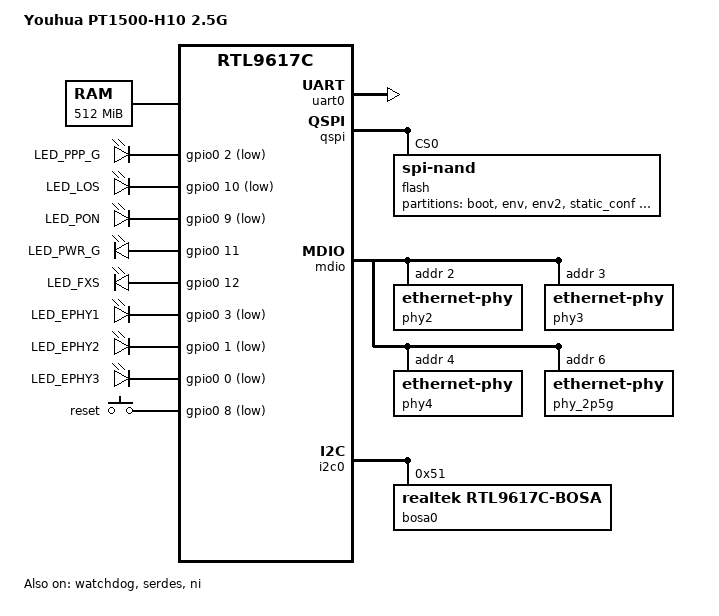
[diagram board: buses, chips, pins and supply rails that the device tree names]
// SPDX-License-Identifier: GPL-2.0-only
/dts-v1/;
#include "rtl9617c.dtsi"
#include <dt-bindings/gpio/gpio.h>
#include <dt-bindings/input/linux-event-codes.h>

/ {
	model = "Youhua PT1500-H10 2.5G";
	compatible = "youhua,pt1500-h10-2p5g", "realtek,rtl9617c";

	aliases {
		serial0 = &uart0;
		led-boot = &led_power;
		led-failsafe = &led_power;
		led-running = &led_power;
		led-upgrade = &led_power;
	};

	chosen {
		stdout-path = "serial0:115200n8";
		bootargs = "earlycon console=ttyS0,115200n8 loglevel=7 clk_ignore_unused maxcpus=4";
		rootdisk = <&ubi_rootdisk>;
	};

	memory@0 {
		device_type = "memory";
		reg = <0 0 0 0x20000000>;
	};

	reserved-memory {
		#address-cells = <2>;
		#size-cells = <2>;
		ranges;
		voip-vector@0 {
			reg = <0 0 0 0x1000>;
			no-map;
		};
		voip@2000000 {
			reg = <0 0x02000000 0 0x00300000>;
			no-map;
		};
		voip-ipc@2300000 {
			reg = <0 0x02300000 0 0x00100000>;
			no-map;
		};
		ddr-noncache@9000000 {
			reg = <0 0x09000000 0 0x01a50000>;
		};
		ddr-cache@bc48000 {
			reg = <0 0x0bc48000 0 0x10000>;
		};
		tz-smc@eeff000 {
			reg = <0 0x0eeff000 0 0x1000>;
			no-map;
		};
		tz@ffc0000 {
			reg = <0 0x0ffc0000 0 0x40000>;
		};
	};

	leds {
		compatible = "gpio-leds";

		internet {
			label = "LED_PPP_G";
			gpios = <&gpio0 2 GPIO_ACTIVE_LOW>;
			default-state = "off";
		};
		los {
			label = "LED_LOS";
			gpios = <&gpio0 10 GPIO_ACTIVE_LOW>;
		};
		pon {
			label = "LED_PON";
			gpios = <&gpio0 9 GPIO_ACTIVE_LOW>;
		};
		led_power: power {
			label = "LED_PWR_G";
			gpios = <&gpio0 11 GPIO_ACTIVE_HIGH>;
			default-state = "on";
		};
		phone {
			label = "LED_FXS";
			gpios = <&gpio0 12 GPIO_ACTIVE_HIGH>;
		};

		lan1 {
			label = "LED_EPHY1";
			gpios = <&gpio0 3 GPIO_ACTIVE_LOW>;
		};
		lan2 {
			label = "LED_EPHY2";
			gpios = <&gpio0 1 GPIO_ACTIVE_LOW>;
		};
		lan3 {
			label = "LED_EPHY3";
			gpios = <&gpio0 0 GPIO_ACTIVE_LOW>;
		};
	};

	gpio-keys-polled {
		compatible = "gpio-keys-polled";
		poll-interval = <20>;

		reset {
			label = "reset";
			linux,code = <KEY_RESTART>;
			gpios = <&gpio0 8 GPIO_ACTIVE_LOW>;
			debounce-interval = <60>;
		};
	};
};

&uart0 {
	status = "okay";
};

&watchdog {
	reset-on-timeout;
	delay-reset = <134>;
	status = "okay";
};

&qspi {
	status = "okay";

	flash@0 {
		compatible = "spi-nand";
		reg = <0>;
		spi-tx-bus-width = <1>;
		spi-rx-bus-width = <1>;

		partitions {
			compatible = "fixed-partitions";
			#address-cells = <1>;
			#size-cells = <1>;

			partition@0 {
				label = "boot";
				reg = <0x0 0x200000>;
				read-only;
			};
			partition@280000 {
				label = "env";
				reg = <0x280000 0x40000>;
			};
			partition@2c0000 {
				label = "env2";
				reg = <0x2c0000 0x40000>;
			};
			partition@300000 {
				label = "static_conf";
				reg = <0x300000 0x40000>;
			};
			ubi_partition: partition@340000 {
				label = "ubi_device";
				reg = <0x340000 0xf5c0000>;
				compatible = "linux,ubi";

				volumes {
					ubi_rootdisk: ubi-volume-fit {
						volname = "fit";
					};
					ubi_factory: ubi-volume-factory {
						volname = "factory";

						nvmem-layout {
							compatible = "fixed-layout";

							#address-cells = <1>;
							#size-cells = <1>;

							base_mac: mac-address@1000 {
								compatible = "mac-base";
								reg = <0x1000 0x6>;
								#nvmem-cell-cells = <1>;
							};

							epon_mac: mac-address@1010 {
								compatible = "mac-base";
								reg = <0x1010 0x6>;
								#nvmem-cell-cells = <1>;
							};

							pon_sn: pon-serial@1020 {
								reg = <0x1020 0x10>;
							};

							device_sn: device-serial@1030 {
								reg = <0x1030 0x20>;
							};
						};
					};
				};
			};
		};
	};
};

&mdio {
	status = "okay";

	phy2: ethernet-phy@2 {
		reg = <2>;
	};
	phy3: ethernet-phy@3 {
		reg = <3>;
	};
	phy4: ethernet-phy@4 {
		reg = <4>;
	};

	phy_2p5g: ethernet-phy@6 {
		reg = <6>;
		realtek,hisgmii;
		realtek,serdes-option-mode = <1>;

		leds {
			#address-cells = <1>;
			#size-cells = <0>;

			led@0 {
				reg = <0>;
				label = "LED_8221B_P6_0";
				default-state = "on";
			};

			led@1 {
				reg = <1>;
				label = "LED_8221B_P6_1";
				default-state = "on";
			};

			led@2 {
				reg = <2>;
				label = "LED_8221B_P6_2";
				default-state = "on";
			};
		};
	};
};

&serdes {
	status = "okay";
};

&ni {
	nvmem-cells = <&base_mac 0>;
	nvmem-cell-names = "mac-address";
	status = "okay";

	ethernet-ports {
		port@1 {
			reg = <1>;
			label = "lan2";
			phy-mode = "internal";
			phy-handle = <&phy2>;
		};

		port@2 {
			reg = <2>;
			label = "lan3";
			phy-mode = "internal";
			phy-handle = <&phy3>;
		};

		port@3 {
			reg = <3>;
			label = "lan4";
			phy-mode = "internal";
			phy-handle = <&phy4>;
		};

		port@6 {
			reg = <6>;
			label = "lan1";
			phy-mode = "2500base-x";
			phy-handle = <&phy_2p5g>;
			phys = <&serdes>;
		};
	};
};

&i2c0 {
	status = "okay";
	bosa0: optical-front-end@51 {
		compatible = "realtek,rtl9617c-bosa";
		reg = <0x51>;
	};
};

&{/soc} {
	gpio0: gpio@4f43292c0 {
		compatible = "realtek,rtl9617c-gpio";
		reg = <4 0xf43292c0 0 0xb4>;
		gpio-controller;
		#gpio-cells = <2>;
		gpio-ranges = <&pinctrl 0 0 160>;
	};

	ne_irq: interrupt-controller@f4320164 {
		compatible = "realtek,rtl9617c-per-ictl", "cortina,per-ictl";
		reg = <0 0xf4320164 0 0x10>;
		interrupt-controller;
		#interrupt-cells = <1>;
		#address-cells = <0>;
		interrupt-parent = <&gic>;
		interrupts = <GIC_SPI 1 IRQ_TYPE_LEVEL_HIGH>;
	};

	pon@4f5500000 {
		compatible = "realtek,rtl9617c-pon";
		nvmem-cells = <&epon_mac 0>, <&pon_sn 0>;
		nvmem-cell-names = "mac-address", "pon-serial";
		realtek,network-engine = <&ni>;
		realtek,optical-front-end = <&bosa0>;
		tx-disable-gpios = <&gpio0 15 GPIO_ACTIVE_HIGH>;
		reg = <4 0xf5500000 0 0xc000>, <4 0xf4320094 0 4>,
		      <4 0xf4320074 0 4>, <4 0xf432022c 0 4>,
		      <4 0xf4320080 0 8>, <4 0xf4320090 0 4>, <4 0xf4320180 0 8>, <4 0xf432007c 0 4>,
		      <4 0xf4329440 0 0x10>;
		reg-names = "mac", "control", "epon-control", "serdes-init", "optical-control", "optical-status", "top-irq", "gpon-control", "dying-gasp";
		interrupts-extended = <&ne_irq 5>, <&per_ictl 24>;
		interrupt-names = "pon", "dying-gasp";
		realtek,burst-polarity = <0>;
		realtek,los-invert = <0>;
		realtek,uni-ports = /bits/ 8 <3 2 1 0>;
	};

};
